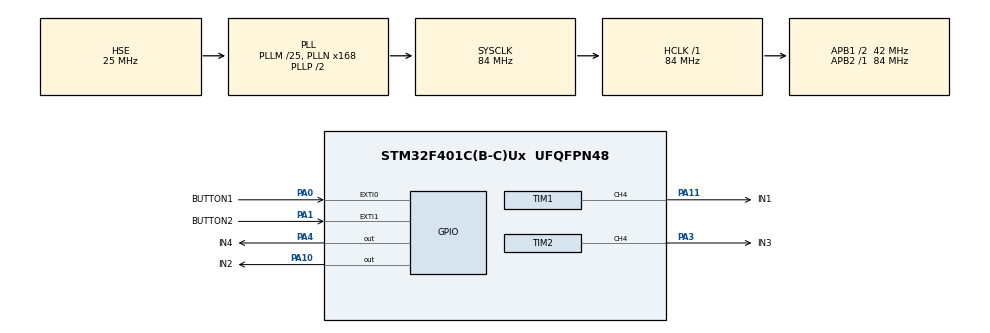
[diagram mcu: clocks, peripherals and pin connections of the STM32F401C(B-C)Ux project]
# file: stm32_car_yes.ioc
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Mcu.Family=STM32F4
Mcu.Name=STM32F401C(B-C)Ux
Mcu.Package=UFQFPN48
NVIC.EXTI0_IRQn=true\:0\:0\:false\:false\:true\:true\:true
NVIC.EXTI1_IRQn=true\:0\:0\:false\:false\:true\:true\:true
NVIC.PriorityGroup=NVIC_PRIORITYGROUP_4
NVIC.TIM2_IRQn=true\:0\:0\:false\:false\:true\:true\:true
PA0-WKUP.GPIO_Label=BUTTON1
PA0-WKUP.GPIO_ModeDefaultEXTI=GPIO_MODE_IT_RISING
PA0-WKUP.GPIO_PuPd=GPIO_PULLUP
PA0-WKUP.Signal=GPXTI0
PA1.GPIO_Label=BUTTON2
PA1.GPIO_ModeDefaultEXTI=GPIO_MODE_IT_RISING
PA1.GPIO_PuPd=GPIO_PULLUP
PA1.Signal=GPXTI1
PA10.GPIO_Label=IN2
PA10.Signal=GPIO_Output
PA11.GPIO_Label=IN1
PA11.GPIO_PuPd=GPIO_PULLUP
PA11.Signal=S_TIM1_CH4
PA13.Mode=Serial_Wire
PA13.Signal=SYS_JTMS-SWDIO
PA14.Mode=Serial_Wire
PA14.Signal=SYS_JTCK-SWCLK
PA3.GPIO_Label=IN3
PA3.Signal=S_TIM2_CH4
PA4.GPIO_Label=IN4
PA4.Signal=GPIO_Output
PH0\ -\ OSC_IN.Mode=HSE-External-Oscillator
PH0\ -\ OSC_IN.Signal=RCC_OSC_IN
PH1\ -\ OSC_OUT.Mode=HSE-External-Oscillator
PH1\ -\ OSC_OUT.Signal=RCC_OSC_OUT
ProjectManager.HeapSize=0x200
ProjectManager.StackSize=0x400
ProjectManager.TargetToolchain=STM32CubeIDE
RCC.48MHZClocksFreq_Value=42000000
RCC.AHBFreq_Value=84000000
RCC.APB1CLKDivider=RCC_HCLK_DIV2
RCC.APB1Freq_Value=42000000
RCC.APB1TimFreq_Value=84000000
RCC.APB2Freq_Value=84000000
RCC.APB2TimFreq_Value=84000000
RCC.CortexFreq_Value=84000000
RCC.HCLKFreq_Value=84000000
RCC.HSE_VALUE=25000000
RCC.HSI_VALUE=16000000
RCC.LSE_VALUE=32768
RCC.PLLM=25
RCC.PLLN=168
RCC.PLLSourceVirtual=RCC_PLLSOURCE_HSE
RCC.SYSCLKFreq_VALUE=84000000
RCC.SYSCLKSource=RCC_SYSCLKSOURCE_PLLCLK
RCC.VCOOutputFreq_Value=168000000
SH.S_TIM1_CH4.0=TIM1_CH4,PWM Generation4 CH4
SH.S_TIM2_CH4.0=TIM2_CH4,PWM Generation4 CH4
TIM1.Channel-PWM\ Generation4\ CH4=TIM_CHANNEL_4
TIM1.Period=42000-1
TIM1.Prescaler=2-1
TIM2.Channel-PWM\ Generation4\ CH4=TIM_CHANNEL_4
TIM2.Period=42000-1
TIM2.Prescaler=2-1
board=custom

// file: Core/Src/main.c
/* USER CODE BEGIN Header */
/**
 ******************************************************************************
 * @file           : main.c
 * @brief          : Main program body
 ******************************************************************************
 * @attention
 *
 * <h2><center>&copy; Copyright (c) 2021 STMicroelectronics.
 * All rights reserved.</center></h2>
 *
 * This software component is licensed by ST under BSD 3-Clause license,
 * the "License"; You may not use this file except in compliance with the
 * License. You may obtain a copy of the License at:
 *                        opensource.org/licenses/BSD-3-Clause
 *
 ******************************************************************************
 */
/* USER CODE END Header */
#include "main.h"

/* USER CODE BEGIN PTD */
void Error_Handler(void);

/* USER CODE END PTD */

TIM_HandleTypeDef htim1;
TIM_HandleTypeDef htim2;

void SystemClock_Config(void);
static void MX_GPIO_Init(void);
static void MX_TIM1_Init(void);
static void MX_TIM2_Init(void);

/* USER CODE BEGIN 0 */
// void HAL_GPIO_EXTI_Callback(uint16_t GPIO_Pin);

/* USER CODE END 0 */

int main(void)
{

  /* MCU Configuration--------------------------------------------------------*/

  /* Reset of all peripherals, Initializes the Flash interface and the Systick. */
  HAL_Init();

  /* Configure the system clock */
  SystemClock_Config();

  /* Initialize all configured peripherals */
  MX_GPIO_Init();
  MX_TIM1_Init();
  MX_TIM2_Init();
  /* USER CODE BEGIN 2 */
  if (HAL_TIM_PWM_Start(&htim1, TIM_CHANNEL_4) != HAL_OK)
    Error_Handler();
  if (HAL_TIM_PWM_Start(&htim2, TIM_CHANNEL_4) != HAL_OK)
    Error_Handler();

  /* USER CODE END 2 */

  /* Infinite loop */
  while (1)
  {

    /* USER CODE BEGIN 3 */
    /* if(flag==1)
     {
         __HAL_TIM_SET_COMPARE(&htim2,TIM_CHANNEL_4,21000);
           flag=0;
     }*/

    //__HAL_TIM_SET_COMPARE(&htim2,TIM_CHANNEL_4,0);
    if (HAL_GPIO_ReadPin(BUTTON1_GPIO_Port, BUTTON1_Pin) == 0)
    {
      __HAL_TIM_SET_COMPARE(&htim2, TIM_CHANNEL_4, 28000);
      __HAL_TIM_SET_COMPARE(&htim1, TIM_CHANNEL_4, 7000);
      HAL_Delay(10);
    }
    if (HAL_GPIO_ReadPin(BUTTON2_GPIO_Port, BUTTON2_Pin) == 0)
    {
      __HAL_TIM_SET_COMPARE(&htim1, TIM_CHANNEL_4, 28000);
      __HAL_TIM_SET_COMPARE(&htim2, TIM_CHANNEL_4, 7000);
      HAL_Delay(10);
    }
    __HAL_TIM_SET_COMPARE(&htim2, TIM_CHANNEL_4, 24000);
    __HAL_TIM_SET_COMPARE(&htim1, TIM_CHANNEL_4, 24000);
  }
  /* USER CODE END 3 */
}

void SystemClock_Config(void)
{
  RCC_OscInitTypeDef RCC_OscInitStruct = {0};
  RCC_ClkInitTypeDef RCC_ClkInitStruct = {0};

  /** Configure the main internal regulator output voltage
   */
  __HAL_RCC_PWR_CLK_ENABLE();
  __HAL_PWR_VOLTAGESCALING_CONFIG(PWR_REGULATOR_VOLTAGE_SCALE2);
  /** Initializes the RCC Oscillators according to the specified parameters
   * in the RCC_OscInitTypeDef structure.
   */
  RCC_OscInitStruct.OscillatorType = RCC_OSCILLATORTYPE_HSE;
  RCC_OscInitStruct.HSEState = RCC_HSE_ON;
  RCC_OscInitStruct.PLL.PLLState = RCC_PLL_ON;
  RCC_OscInitStruct.PLL.PLLSource = RCC_PLLSOURCE_HSE;
  RCC_OscInitStruct.PLL.PLLM = 25;
  RCC_OscInitStruct.PLL.PLLN = 168;
  RCC_OscInitStruct.PLL.PLLP = RCC_PLLP_DIV2;
  RCC_OscInitStruct.PLL.PLLQ = 4;
  if (HAL_RCC_OscConfig(&RCC_OscInitStruct) != HAL_OK)
  {
    Error_Handler();
  }
  /** Initializes the CPU, AHB and APB buses clocks
   */
  RCC_ClkInitStruct.ClockType = RCC_CLOCKTYPE_HCLK | RCC_CLOCKTYPE_SYSCLK | RCC_CLOCKTYPE_PCLK1 | RCC_CLOCKTYPE_PCLK2;
  RCC_ClkInitStruct.SYSCLKSource = RCC_SYSCLKSOURCE_PLLCLK;
  RCC_ClkInitStruct.AHBCLKDivider = RCC_SYSCLK_DIV1;
  RCC_ClkInitStruct.APB1CLKDivider = RCC_HCLK_DIV2;
  RCC_ClkInitStruct.APB2CLKDivider = RCC_HCLK_DIV1;

  if (HAL_RCC_ClockConfig(&RCC_ClkInitStruct, FLASH_LATENCY_2) != HAL_OK)
  {
    Error_Handler();
  }
}

static void MX_TIM1_Init(void)
{

  TIM_MasterConfigTypeDef sMasterConfig = {0};
  TIM_OC_InitTypeDef sConfigOC = {0};
  TIM_BreakDeadTimeConfigTypeDef sBreakDeadTimeConfig = {0};

  htim1.Instance = TIM1;
  htim1.Init.Prescaler = 2 - 1;
  htim1.Init.CounterMode = TIM_COUNTERMODE_UP;
  htim1.Init.Period = 42000 - 1;
  htim1.Init.ClockDivision = TIM_CLOCKDIVISION_DIV1;
  htim1.Init.RepetitionCounter = 0;
  htim1.Init.AutoReloadPreload = TIM_AUTORELOAD_PRELOAD_DISABLE;
  if (HAL_TIM_PWM_Init(&htim1) != HAL_OK)
  {
    Error_Handler();
  }
  sMasterConfig.MasterOutputTrigger = TIM_TRGO_RESET;
  sMasterConfig.MasterSlaveMode = TIM_MASTERSLAVEMODE_DISABLE;
  if (HAL_TIMEx_MasterConfigSynchronization(&htim1, &sMasterConfig) != HAL_OK)
  {
    Error_Handler();
  }
  sConfigOC.OCMode = TIM_OCMODE_PWM1;
  sConfigOC.Pulse = 0;
  sConfigOC.OCPolarity = TIM_OCPOLARITY_HIGH;
  sConfigOC.OCFastMode = TIM_OCFAST_DISABLE;
  sConfigOC.OCIdleState = TIM_OCIDLESTATE_RESET;
  sConfigOC.OCNIdleState = TIM_OCNIDLESTATE_RESET;
  if (HAL_TIM_PWM_ConfigChannel(&htim1, &sConfigOC, TIM_CHANNEL_4) != HAL_OK)
  {
    Error_Handler();
  }
  sBreakDeadTimeConfig.OffStateRunMode = TIM_OSSR_DISABLE;
  sBreakDeadTimeConfig.OffStateIDLEMode = TIM_OSSI_DISABLE;
  sBreakDeadTimeConfig.LockLevel = TIM_LOCKLEVEL_OFF;
  sBreakDeadTimeConfig.DeadTime = 0;
  sBreakDeadTimeConfig.BreakState = TIM_BREAK_DISABLE;
  sBreakDeadTimeConfig.BreakPolarity = TIM_BREAKPOLARITY_HIGH;
  sBreakDeadTimeConfig.AutomaticOutput = TIM_AUTOMATICOUTPUT_DISABLE;
  if (HAL_TIMEx_ConfigBreakDeadTime(&htim1, &sBreakDeadTimeConfig) != HAL_OK)
  {
    Error_Handler();
  }
  HAL_TIM_MspPostInit(&htim1);
}

static void MX_TIM2_Init(void)
{

  TIM_MasterConfigTypeDef sMasterConfig = {0};
  TIM_OC_InitTypeDef sConfigOC = {0};

  htim2.Instance = TIM2;
  htim2.Init.Prescaler = 2 - 1;
  htim2.Init.CounterMode = TIM_COUNTERMODE_UP;
  htim2.Init.Period = 42000 - 1;
  htim2.Init.ClockDivision = TIM_CLOCKDIVISION_DIV1;
  htim2.Init.AutoReloadPreload = TIM_AUTORELOAD_PRELOAD_DISABLE;
  if (HAL_TIM_PWM_Init(&htim2) != HAL_OK)
  {
    Error_Handler();
  }
  sMasterConfig.MasterOutputTrigger = TIM_TRGO_RESET;
  sMasterConfig.MasterSlaveMode = TIM_MASTERSLAVEMODE_DISABLE;
  if (HAL_TIMEx_MasterConfigSynchronization(&htim2, &sMasterConfig) != HAL_OK)
  {
    Error_Handler();
  }
  sConfigOC.OCMode = TIM_OCMODE_PWM1;
  sConfigOC.Pulse = 0;
  sConfigOC.OCPolarity = TIM_OCPOLARITY_HIGH;
  sConfigOC.OCFastMode = TIM_OCFAST_DISABLE;
  if (HAL_TIM_PWM_ConfigChannel(&htim2, &sConfigOC, TIM_CHANNEL_4) != HAL_OK)
  {
    Error_Handler();
  }
  HAL_TIM_MspPostInit(&htim2);
}

static void MX_GPIO_Init(void)
{
  GPIO_InitTypeDef GPIO_InitStruct = {0};

  /* GPIO Ports Clock Enable */
  __HAL_RCC_GPIOH_CLK_ENABLE();
  __HAL_RCC_GPIOA_CLK_ENABLE();

  /*Configure GPIO pin Output Level */
  HAL_GPIO_WritePin(GPIOA, IN4_Pin | IN2_Pin, GPIO_PIN_RESET);

  /*Configure GPIO pins : BUTTON1_Pin BUTTON2_Pin */
  GPIO_InitStruct.Pin = BUTTON1_Pin | BUTTON2_Pin;
  GPIO_InitStruct.Mode = GPIO_MODE_IT_RISING;
  GPIO_InitStruct.Pull = GPIO_PULLUP;
  HAL_GPIO_Init(GPIOA, &GPIO_InitStruct);

  /*Configure GPIO pins : IN4_Pin IN2_Pin */
  GPIO_InitStruct.Pin = IN4_Pin | IN2_Pin;
  GPIO_InitStruct.Mode = GPIO_MODE_OUTPUT_PP;
  GPIO_InitStruct.Pull = GPIO_NOPULL;
  GPIO_InitStruct.Speed = GPIO_SPEED_FREQ_LOW;
  HAL_GPIO_Init(GPIOA, &GPIO_InitStruct);

  /* EXTI interrupt init*/
  HAL_NVIC_SetPriority(EXTI0_IRQn, 0, 0);
  HAL_NVIC_EnableIRQ(EXTI0_IRQn);

  HAL_NVIC_SetPriority(EXTI1_IRQn, 0, 0);
  HAL_NVIC_EnableIRQ(EXTI1_IRQn);
}

/* USER CODE BEGIN 4 */

/*void HAL_GPIO_EXTI_Callback(uint16_t GPIO_Pin)
{
  if(GPIO_Pin == BUTTON1_Pin)
  {
        HAL_GPIO_TogglePin(LED_GPIO_Port, LED_Pin);
        HAL_Delay(1000);
  }
}*/

/* USER CODE END 4 */

void Error_Handler(void)
{
  __disable_irq();
  while (1)
  {
  }
}

/************************ (C) COPYRIGHT STMicroelectronics *****END OF FILE****/
